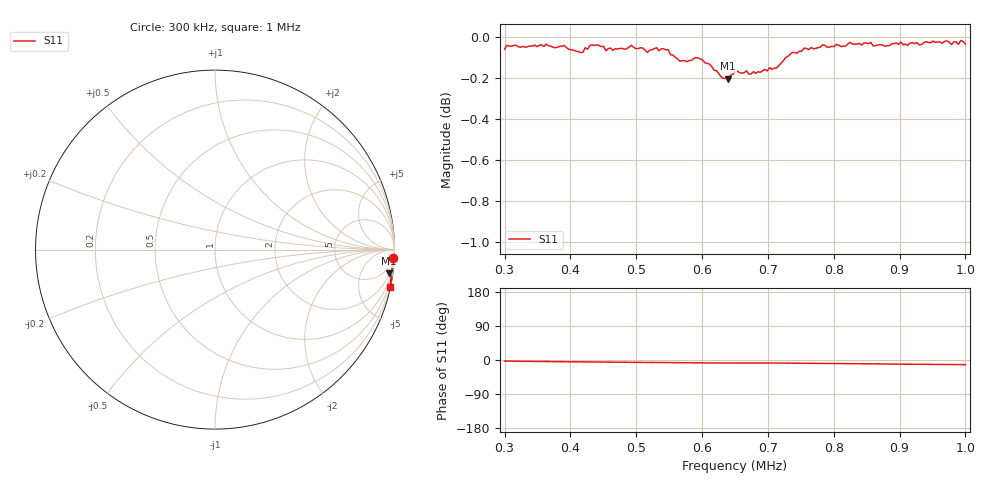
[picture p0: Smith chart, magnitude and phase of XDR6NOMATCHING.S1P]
!Agilent Technologies,E5071C,MY46100305,A.07.02
!Date: Fri Jan 01 00:29:43 1988
!Data & Calibration Information:
!Freq	S11:SOLT1(ON)
# Hz S MA R 50
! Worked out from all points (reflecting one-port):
!   201 points, 300 kHz to 1 MHz, reference 50 ohm
!   lowest |S11| = -0.2 dB at 639.5 kHz (marker M1), VSWR 84.58, Z = 124 - j711 ohm
!   phase of S11 starts at -3 deg and turns -9 deg over the sweep
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300000  0.993 -2.8
345500  0.9952 -3.8
352500  0.995 -3.8
363000  0.9958 -4.1
387500  0.9947 -4.5
408500  0.9918 -4.8
415500  0.991 -4.8
433000  0.9954 -5.0
454000  0.9921 -5.5
475000  0.9934 -5.7
492500  0.9951 -6.0
517000  0.9911 -6.4
531000  0.9938 -6.7
548500  0.9927 -7.0
562500  0.9877 -7.2
594000  0.9881 -7.5
622000  0.981 -8.0
639500  0.9766 -7.8
650000  0.9805 -7.7
664000  0.98 -8.0
699000  0.981 -8.0
723500  0.9865 -8.0
737500  0.9911 -8.3
825000  0.9968 -9.8
912500  0.9951 -11.0
951000  0.9975 -11.5
982500  0.997 -12.1
1000000  0.9959 -12.2
